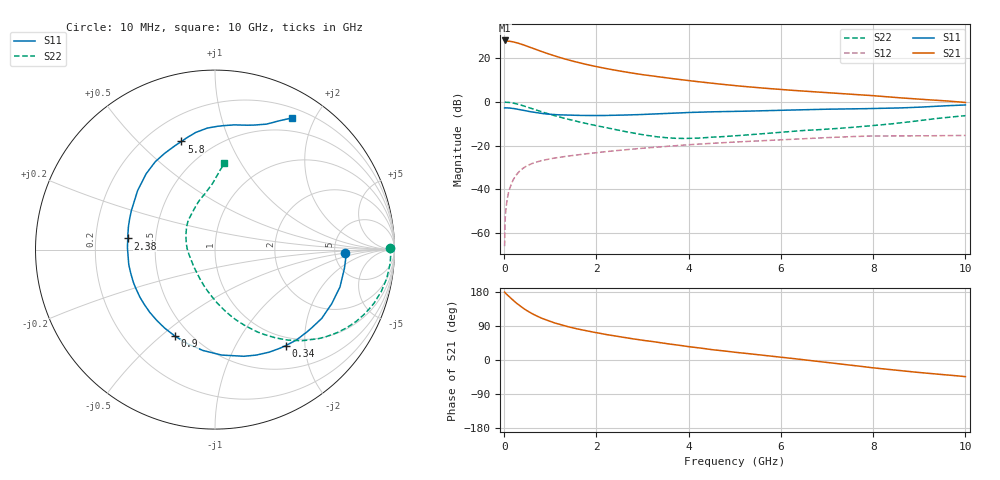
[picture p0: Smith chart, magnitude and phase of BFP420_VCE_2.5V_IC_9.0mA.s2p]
! Infineon Technologies  Discrete & RF Semiconductors
! BFP420
! VCE =  2.5 V,  IC =  9.0 mA
! Common Emitter S-Parameters:  Jan 2016
# GHz  S  MA  R  50
!  f  S11  S21  S12  S22
! GHz  MAG  ANG  MAG  ANG  MAG  ANG  MAG  ANG
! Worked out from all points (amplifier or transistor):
!   233 points, 10 MHz to 10 GHz, reference 50 ohm
!   highest |S21| = 28.1 dB at 10 MHz (marker M1)
!   |S21| within 3 dB of that: start of sweep to 545.7 MHz
!   unconditionally stable (mu >= 1): 2.445 GHz to end of sweep
!   at 200 MHz: K = 0.12, MSG = 31.5 dB, |S12| = -35.5 dB
!   at 1.74 GHz: K = 0.80, MSG = 20.6 dB, |S12| = -23.9 dB
!   at 10 GHz: K = 1.09, MAG = 5.7 dB, |S12| = -15.4 dB
!   S11 on the Smith chart (normalised r, x): 10 MHz: 6.27, -0.57; 340 MHz: 0.85, -1.64; 900 MHz: 0.42, -0.56; 2.38 GHz: 0.34, +0.06; 5.8 GHz: 0.34, +0.68; 10 GHz: 0.33, +1.69
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0.01  0.727 -1.7  25.34 179.1  0.0005 87.4  0.9741 0.6
0.02  0.7302 -3.6  24.69 177.6  0.0019 84.8  0.9795 -1.7
0.045  0.7286 -7.4  24.64 174.5  0.0041 85.5  0.9787 -4.1
0.1  0.7268 -16.6  24.49 168.3  0.0088 82.4  0.9703 -9.5
0.185  0.7089 -30.4  23.62 158.8  0.0155 75.6  0.9402 -17.3
0.26  0.6873 -42.0  22.56 150.8  0.0211 70.7  0.9044 -23.7
0.34  0.6644 -53.7  21.36 143.2  0.0263 65.7  0.8583 -30.0
0.45  0.6312 -68.6  19.54 133.7  0.0323 60.1  0.7911 -37.7
0.6  0.5888 -86.4  17.11 122.6  0.0386 54.1  0.7012 -46.4
0.7  0.5659 -96.9  15.64 116.4  0.042 51.1  0.6469 -51.2
0.9  0.5313 -114.7  13.14 106.0  0.0474 46.7  0.5547 -59.2
1.02  0.5173 -124.0  11.92 100.8  0.0502 45.0  0.5084 -63.4
1.2  0.5042 -136.1  10.38 93.9  0.0539 42.9  0.4494 -69.1
1.42  0.4944 -148.5  8.918 86.8  0.0582 41.2  0.3918 -75.2
1.68  0.4885 -161.1  7.603 79.6  0.0629 39.5  0.3374 -81.8
2.38  0.4904 172.7  5.352 63.8  0.0757 35.9  0.2352 -99.9
3.4  0.5346 145.0  3.666 45.4  0.0938 30.0  0.1551 -136.5
5.1  0.6076 116.3  2.3 19.3  0.1218 18.3  0.1699 161.5
5.8  0.6314 107.3  1.991 10.1  0.1321 13.4  0.1939 145.5
6.8  0.6709 95.8  1.676 -3.6  0.1484 5.5  0.23 126.9
8.4  0.7161 75.4  1.278 -25.9  0.1661 -10.6  0.3137 100.8
10  0.8475 59.8  0.968 -43.9  0.1706 -21.9  0.483 83.8
